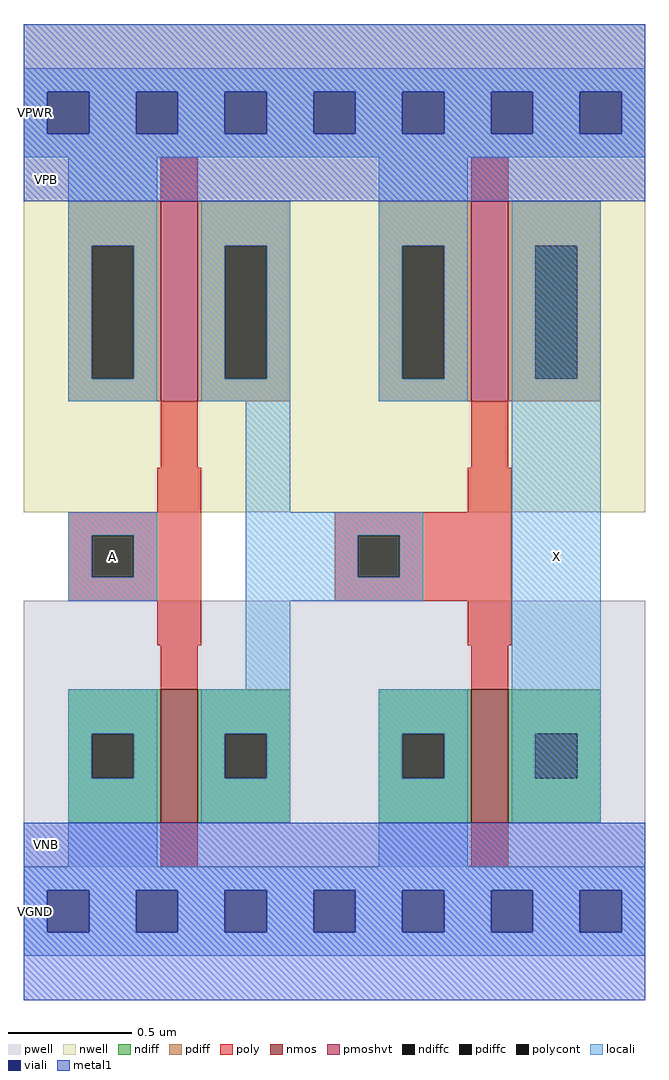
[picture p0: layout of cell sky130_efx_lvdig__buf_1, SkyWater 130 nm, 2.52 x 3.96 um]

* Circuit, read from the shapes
.subckt sky130_efx_lvdig__buf_1 A X VPWR VGND VPB VNB
XM1 pmos_n4f5_f1_l150_hvt_0/D0 A VGND VNB sky130_fd_pr__nfet_01v8 w=0.54 l=0.15
XM2 X pmos_n4f5_f1_l150_hvt_0/D0 VGND VNB sky130_fd_pr__nfet_01v8 w=0.54 l=0.15
XM3 pmos_n4f5_f1_l150_hvt_0/D0 A VPWR VPB sky130_fd_pr__pfet_01v8_hvt w=0.81 l=0.15
XM4 X pmos_n4f5_f1_l150_hvt_0/D0 VPWR VPB sky130_fd_pr__pfet_01v8_hvt w=0.81 l=0.15
.ends

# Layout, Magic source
magic
tech sky130A
magscale 1 2
<< nwell >>
rect 0 288 504 684
<< pwell >>
rect 0 0 504 216
<< poly >>
rect 108 288 144 324
rect 360 288 396 324
rect 36 269 144 288
rect 36 235 55 269
rect 89 235 144 269
rect 36 216 144 235
rect 252 269 396 288
rect 252 235 271 269
rect 305 235 396 269
rect 252 216 396 235
rect 108 180 144 216
rect 360 180 396 216
<< polycont >>
rect 55 235 89 269
rect 271 235 305 269
<< locali >>
rect 0 629 504 648
rect 0 595 19 629
rect 53 595 91 629
rect 125 595 163 629
rect 197 595 235 629
rect 269 595 307 629
rect 341 595 379 629
rect 413 595 451 629
rect 485 595 504 629
rect 0 576 504 595
rect 36 504 108 576
rect 288 504 360 576
rect 180 288 216 396
rect 36 269 108 288
rect 36 235 55 269
rect 89 235 108 269
rect 36 216 108 235
rect 180 269 324 288
rect 180 235 271 269
rect 305 235 324 269
rect 180 216 324 235
rect 180 108 216 216
rect 36 0 108 72
rect 288 0 360 72
rect 396 36 468 540
rect 0 -19 504 0
rect 0 -53 19 -19
rect 53 -53 91 -19
rect 125 -53 163 -19
rect 197 -53 235 -19
rect 269 -53 307 -19
rect 341 -53 379 -19
rect 413 -53 451 -19
rect 485 -53 504 -19
rect 0 -72 504 -53
<< viali >>
rect 19 595 53 629
rect 91 595 125 629
rect 163 595 197 629
rect 235 595 269 629
rect 307 595 341 629
rect 379 595 413 629
rect 451 595 485 629
rect 19 -53 53 -19
rect 91 -53 125 -19
rect 163 -53 197 -19
rect 235 -53 269 -19
rect 307 -53 341 -19
rect 379 -53 413 -19
rect 451 -53 485 -19
<< metal1 >>
rect 0 629 504 684
rect 0 595 19 629
rect 53 595 91 629
rect 125 595 163 629
rect 197 595 235 629
rect 269 595 307 629
rect 341 595 379 629
rect 413 595 451 629
rect 485 595 504 629
rect 0 540 504 595
rect 0 -19 504 36
rect 0 -53 19 -19
rect 53 -53 91 -19
rect 125 -53 163 -19
rect 197 -53 235 -19
rect 269 -53 307 -19
rect 341 -53 379 -19
rect 413 -53 451 -19
rect 485 -53 504 -19
rect 0 -108 504 -53
use nmos_n3_f1_l150  nmos_n3_f1_l150_0
transform -1 0 180 0 1 36
box -72 -36 180 144
use nmos_n3_f1_l150  nmos_n3_f1_l150_1
transform -1 0 432 0 1 36
box -72 -36 180 144
use pmos_n4f5_f1_l150_hvt  pmos_n4f5_f1_l150_hvt_0
transform 1 0 72 0 1 360
box -72 -36 180 216
use pmos_n4f5_f1_l150_hvt  pmos_n4f5_f1_l150_hvt_1
transform 1 0 324 0 1 360
box -72 -36 180 216
<< labels >>
flabel locali 36 216 108 288 0 FreeSans 288 0 0 0 A
port 1 nsew signal input
flabel locali 396 216 468 288 0 FreeSans 288 0 0 0 X
port 2 nsew signal output
flabel metal1 0 576 18 648 0 FreeSans 288 0 0 0 VPWR
port 3 nsew power bidirectional
flabel metal1 0 -72 18 0 0 FreeSans 288 0 0 0 VGND
port 4 nsew ground bidirectional
flabel nwell 0 540 36 576 0 FreeSans 288 0 0 0 VPB
port 5 nsew power bidirectional
flabel pwell 0 0 36 36 0 FreeSans 288 0 0 0 VNB
port 6 nsew ground bidirectional
<< properties >>
string FIXED_BBOX 0 -36 504 612
<< end >>

# cell nmos_n3_f1_l150: kit device nmos, n 3 fingers 1 length 0.15 butted 0 ltap 0 rtap 0 vt std tgate 0 bgate 0

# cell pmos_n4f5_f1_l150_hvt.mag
magic
tech sky130A
magscale 1 2
<< nwell >>
rect -72 -36 180 216
<< pmoshvt >>
rect 39 18 69 180
<< pdiff >>
rect -36 144 39 180
rect -36 36 -17 144
rect 17 36 39 144
rect -36 18 39 36
rect 69 144 144 180
rect 69 36 91 144
rect 125 36 144 144
rect 69 18 144 36
<< pdiffc >>
rect -17 36 17 144
rect 91 36 125 144
<< poly >>
rect 39 180 69 216
rect 39 -36 69 18
<< locali >>
rect -36 144 36 180
rect -36 36 -17 144
rect 17 36 36 144
rect -36 18 36 36
rect 72 144 144 180
rect 72 36 91 144
rect 125 36 144 144
rect 72 18 144 36
<< labels >>
rlabel locali 0 18 0 18 0 S0
port 1 nsew
rlabel locali 108 18 108 18 0 D0
port 2 nsew
<< end >>
